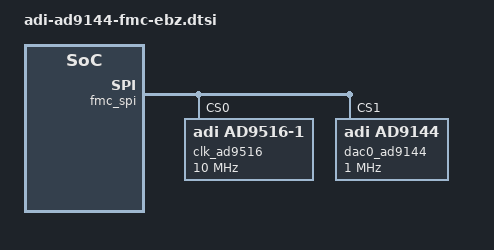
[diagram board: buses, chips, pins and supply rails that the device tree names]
// SPDX-License-Identifier: GPL-2.0
/*
 * dts file for AD9144-FMC-EBZ on Xilinx ZynqMP ZCU102 Rev 1.0
 *
 * Copyright (C) 2018-2019 Analog Devices Inc.
 */

/ {
	clocks {
		ad9516_clkin: clock@0 {
			compatible = "fixed-clock";

			clock-frequency = <2000000000>;
			clock-output-names = "clkin";
			#clock-cells = <0>;
		};
	};
};


&fmc_spi {
	clk_ad9516: ad9516@0 {
		compatible = "adi,ad9516-1";
		reg = <0>;

		spi-max-frequency = <10000000>;

		firmware = "ad9144_fmc_ebz_ad9516.stp";

		clocks = <&ad9516_clkin>, <&ad9516_clkin>;
		clock-names = "refclk", "clkin";

		clock-output-names = "out0", "out1", "out2", "out3", "out4", "out5", "out6", "out7";
		#clock-cells = <1>;
	};

	dac0_ad9144: ad9144@1 {
		#address-cells = <1>;
		#size-cells = <0>;
		compatible = "adi,ad9144";
		reg = <1>;
		spi-max-frequency = <1000000>;
		clocks = <&axi_ad9144_jesd>, <&clk_ad9516 1>, <&clk_ad9516 6>;
		clock-names = "jesd_dac_clk", "dac_clk", "dac_sysref";

		adi,jesd-link-mode = <4>;
		adi,spi-4wire;

		adi,interpolation = <2>;

	};
};

